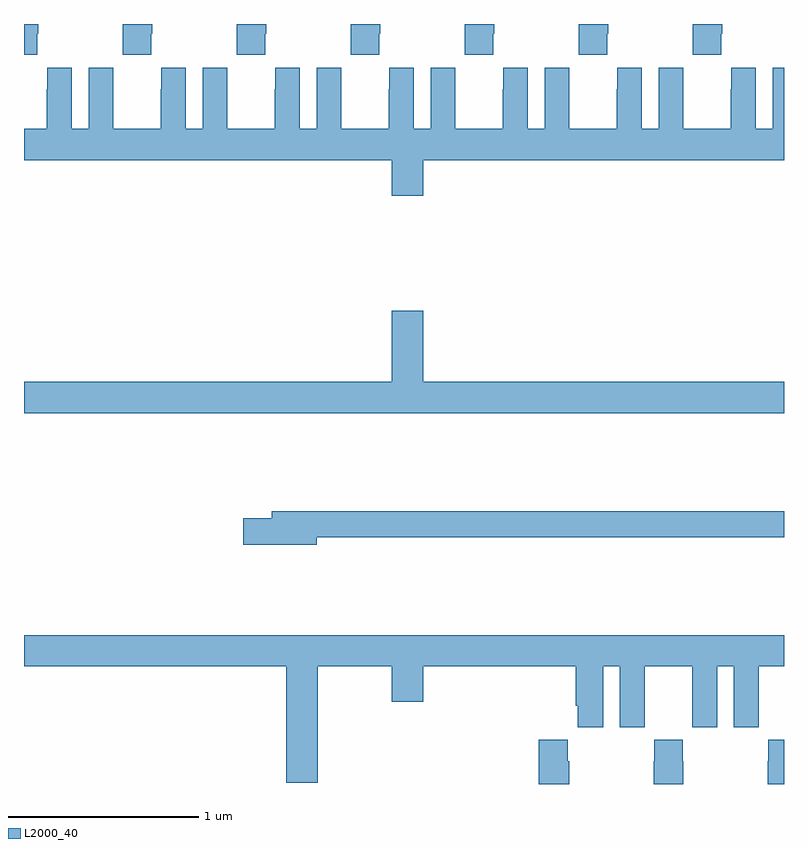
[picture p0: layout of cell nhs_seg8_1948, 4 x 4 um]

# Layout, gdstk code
import gdstk
lib = gdstk.Library(unit=1e-6, precision=1e-09)
def P(c, l, *ps):  # polygons
    for p in ps: c.add(gdstk.Polygon(p, *l))
L2000_40 = (2000, 40)

nhs_seg8_1948 = lib.new_cell('nhs_seg8_1948')
P(nhs_seg8_1948, L2000_40, [(238.671,1099.849),(238.674,1099.849),(238.674,1099.9),(238.519,1099.9),(238.519,1099.849),(238.521,1099.849),(238.521,1099.737),(238.671,1099.737)],
  [(238.071,1099.849),(238.074,1099.849),(238.074,1099.9),(237.919,1099.9),(237.919,1099.849),(237.921,1099.849),(237.921,1099.737),(238.071,1099.737)],
  [(237.471,1099.849),(237.474,1099.849),(237.474,1099.9),(237.319,1099.9),(237.319,1099.849),(237.321,1099.849),(237.321,1099.737),(237.471,1099.737)],
  [(236.871,1099.849),(236.874,1099.849),(236.874,1099.9),(236.719,1099.9),(236.719,1099.849),(236.721,1099.849),(236.721,1099.737),(236.871,1099.737)],
  [(236.271,1099.849),(236.274,1099.849),(236.274,1099.9),(236.119,1099.9),(236.119,1099.849),(236.121,1099.849),(236.121,1099.737),(236.271,1099.737)],
  [(235.671,1099.849),(235.674,1099.849),(235.674,1099.9),(235.519,1099.9),(235.519,1099.849),(235.521,1099.849),(235.521,1099.737),(235.671,1099.737)],
  [(235.071,1099.849),(235.074,1099.849),(235.074,1099.9),(235,1099.9),(235,1099.737),(235.071,1099.737)],
  [(239,1099.669),(238.94,1099.669),(238.94,1099.348),(238.852,1099.348),(238.852,1099.669),(238.722,1099.669),(238.722,1099.556),(238.721,1099.556),(238.721,1099.348),(238.471,1099.348),(238.471,1099.556),(238.47,1099.556),(238.47,1099.669),(238.34,1099.669),(238.34,1099.348),(238.252,1099.348),(238.252,1099.669),(238.122,1099.669),(238.122,1099.556),(238.121,1099.556),(238.121,1099.348),(237.871,1099.348),(237.871,1099.556),(237.87,1099.556),(237.87,1099.669),(237.74,1099.669),(237.74,1099.348),(237.652,1099.348),(237.652,1099.669),(237.522,1099.669),(237.522,1099.556),(237.521,1099.556),(237.521,1099.348),(237.271,1099.348),(237.271,1099.556),(237.27,1099.556),(237.27,1099.669),(237.14,1099.669),(237.14,1099.348),(237.052,1099.348),(237.052,1099.669),(236.922,1099.669),(236.922,1099.556),(236.921,1099.556),(236.921,1099.348),(236.671,1099.348),(236.671,1099.556),(236.67,1099.556),(236.67,1099.669),(236.54,1099.669),(236.54,1099.348),(236.452,1099.348),(236.452,1099.669),(236.322,1099.669),(236.322,1099.556),(236.321,1099.556),(236.321,1099.348),(236.071,1099.348),(236.071,1099.556),(236.07,1099.556),(236.07,1099.669),(235.94,1099.669),(235.94,1099.348),(235.852,1099.348),(235.852,1099.669),(235.722,1099.669),(235.722,1099.556),(235.721,1099.556),(235.721,1099.348),(235.471,1099.348),(235.471,1099.556),(235.47,1099.556),(235.47,1099.669),(235.34,1099.669),(235.34,1099.348),(235.252,1099.348),(235.252,1099.669),(235.122,1099.669),(235.122,1099.556),(235.121,1099.556),(235.121,1099.348),(235,1099.348),(235,1099.184),(236.936,1099.184),(236.936,1098.996),(237.1,1098.996),(237.1,1099.184),(239,1099.184)],
  [(239,1098.016),(237.1,1098.016),(237.1,1098.391),(236.936,1098.391),(236.936,1098.016),(235,1098.016),(235,1097.852),(239,1097.852)],
  [(236.542,1097.2),(239,1097.2),(239,1097.336),(236.303,1097.336),(236.303,1097.3),(236.154,1097.3),(236.154,1097.158),(236.542,1097.158)],
  [(236.545,1096.52),(236.936,1096.52),(236.936,1096.332),(237.1,1096.332),(237.1,1096.52),(237.905,1096.52),(237.905,1096.312),(237.914,1096.312),(237.914,1096.2),(238.048,1096.2),(238.048,1096.52),(238.136,1096.52),(238.136,1096.2),(238.266,1096.2),(238.266,1096.312),(238.267,1096.312),(238.267,1096.52),(238.517,1096.52),(238.517,1096.312),(238.518,1096.312),(238.518,1096.2),(238.648,1096.2),(238.648,1096.52),(238.736,1096.52),(238.736,1096.2),(238.866,1096.2),(238.866,1096.312),(238.867,1096.312),(238.867,1096.52),(239,1096.52),(239,1096.684),(235,1096.684),(235,1096.52),(236.381,1096.52),(236.381,1095.906),(236.545,1095.906)],
  [(239,1096.132),(238.917,1096.132),(238.917,1096.019),(238.915,1096.019),(238.915,1095.9),(239,1095.9)],
  [(238.47,1096.019),(238.467,1096.019),(238.467,1096.132),(238.317,1096.132),(238.317,1096.019),(238.315,1096.019),(238.315,1095.9),(238.47,1095.9)],
  [(237.87,1096.019),(237.863,1096.019),(237.863,1096.132),(237.71,1096.132),(237.71,1095.9),(237.87,1095.9)])

lib.write_gds('nhs_seg8_1948.gds')
